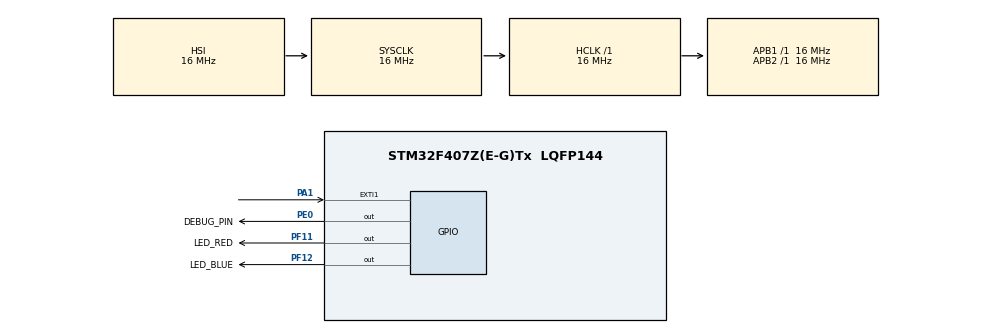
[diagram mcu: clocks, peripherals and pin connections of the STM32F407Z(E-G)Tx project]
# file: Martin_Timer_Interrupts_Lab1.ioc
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Mcu.Family=STM32F4
Mcu.Name=STM32F407Z(E-G)Tx
Mcu.Package=LQFP144
NVIC.EXTI1_IRQn=true\:2\:0\:true\:false\:true\:true\:true\:true
NVIC.PriorityGroup=NVIC_PRIORITYGROUP_4
NVIC.TIM2_IRQn=true\:0\:0\:false\:false\:true\:true\:true\:true
NVIC.TIM3_IRQn=true\:1\:0\:true\:false\:true\:true\:true\:true
PA1.GPIO_PuPd=GPIO_PULLDOWN
PA1.Signal=GPXTI1
PE0.GPIO_Label=DEBUG_PIN
PE0.Signal=GPIO_Output
PF11.GPIO_Label=LED_RED
PF11.Signal=GPIO_Output
PF12.GPIO_Label=LED_BLUE
PF12.Signal=GPIO_Output
ProjectManager.HeapSize=0x200
ProjectManager.StackSize=0x400
ProjectManager.TargetToolchain=STM32CubeIDE
RCC.AHBFreq_Value=16000000
RCC.APB1Freq_Value=16000000
RCC.APB2Freq_Value=16000000
RCC.CortexFreq_Value=16000000
RCC.HSE_VALUE=25000000
RCC.HSI_VALUE=16000000
RCC.LSE_VALUE=32768
RCC.SYSCLKFreq_VALUE=16000000
RCC.VCOOutputFreq_Value=192000000
TIM2.Period=9999
TIM2.Prescaler=8399
TIM3.Period=4999
TIM3.Prescaler=8399
VP_TIM2_VS_ClockSourceINT.Mode=Internal
VP_TIM3_VS_ClockSourceINT.Mode=Internal
board=custom

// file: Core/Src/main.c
/* USER CODE BEGIN Header */
/**
  ******************************************************************************
  * @file           : main.c
  * @brief          : Main program body
  ******************************************************************************
  * @attention
  *
  * Copyright (c) 2026 STMicroelectronics.
  * All rights reserved.
  *
  * This software is licensed under terms that can be found in the LICENSE file
  * in the root directory of this software component.
  * If no LICENSE file comes with this software, it is provided AS-IS.
  *
  ******************************************************************************
  */
/* USER CODE END Header */
#include "main.h"

TIM_HandleTypeDef htim2;
TIM_HandleTypeDef htim3;

/* USER CODE BEGIN PV */
///These variables are simply used as flags for the CPU to deal with. These var:
volatile uint8_t task_adc_ready = 0;
volatile uint8_t task_display_ready = 0;
volatile uint32_t tick_count = 0;

volatile uint32_t start = 0;
volatile uint32_t tick = 0;
volatile uint32_t maxlatency = 0;
/* USER CODE END PV */

void SystemClock_Config(void);
static void MX_GPIO_Init(void);
static void MX_TIM2_Init(void);
static void MX_TIM3_Init(void);

/* USER CODE BEGIN 0 */
void HAL_TIM_PeriodElapsedCallback(TIM_HandleTypeDef *htim) {
    if (htim->Instance == TIM2) {
        // High Priority Task Signal
        HAL_GPIO_WritePin(DEBUG_PIN_GPIO_Port, DEBUG_PIN_Pin, GPIO_PIN_SET); // Set marker
        HAL_GPIO_TogglePin(LED_RED_GPIO_Port, LED_RED_Pin);
        task_adc_ready = 1;
        tick_count++;
        start = DWT->CYCCNT; // Capture start time for latency measurement
    }
    if (htim->Instance == TIM3) {
        // Medium Priority Task Signal
        HAL_GPIO_TogglePin(LED_BLUE_GPIO_Port, LED_BLUE_Pin);
        task_display_ready = 1;
    }
    // Reset debug pin after ISR finishes
    HAL_GPIO_WritePin(DEBUG_PIN_GPIO_Port, DEBUG_PIN_Pin, GPIO_PIN_RESET);
}
/* USER CODE END 0 */

int main(void)
{

  /* MCU Configuration--------------------------------------------------------*/

  /* Reset of all peripherals, Initializes the Flash interface and the Systick. */
  HAL_Init();

  /* Configure the system clock */
  SystemClock_Config();

  /* Initialize all configured peripherals */
  MX_GPIO_Init();
  MX_TIM2_Init();
  MX_TIM3_Init();
  /* USER CODE BEGIN 2 */
  // Enable DWT Cycle Counter for timing measurements
  CoreDebug->DEMCR |= CoreDebug_DEMCR_TRCENA_Msk;
  DWT->CYCCNT = 0;
  DWT->CTRL |= DWT_CTRL_CYCCNTENA_Msk;

  // Start both timers with interrupts
  HAL_TIM_Base_Start_IT(&htim2);
  HAL_TIM_Base_Start_IT(&htim3);
  /* USER CODE END 2 */

  /* Infinite loop */
  while (1)
  {

    /* USER CODE BEGIN 3 */
	  if (task_adc_ready) {
	          tick = DWT->CYCCNT - start; // Calculate latency
	          task_adc_ready = 0;

	          HAL_GPIO_WritePin(DEBUG_PIN_GPIO_Port, DEBUG_PIN_Pin, GPIO_PIN_SET);
	          HAL_Delay(50); // Simulate ADC processing [cite: 515]
	          HAL_GPIO_WritePin(DEBUG_PIN_GPIO_Port, DEBUG_PIN_Pin, GPIO_PIN_RESET);

	          if (tick > maxlatency) maxlatency = tick;
	      }

	      if (task_display_ready) {
	          task_display_ready = 0;
	          HAL_Delay(20); // Simulate display update [cite: 520]
	      }

	      if (tick_count >= 10) tick_count = 0;
	    }
  /* USER CODE END 3 */
}

void SystemClock_Config(void)
{
  RCC_OscInitTypeDef RCC_OscInitStruct = {0};
  RCC_ClkInitTypeDef RCC_ClkInitStruct = {0};

  /** Configure the main internal regulator output voltage
  */
  __HAL_RCC_PWR_CLK_ENABLE();
  __HAL_PWR_VOLTAGESCALING_CONFIG(PWR_REGULATOR_VOLTAGE_SCALE1);

  /** Initializes the RCC Oscillators according to the specified parameters
  * in the RCC_OscInitTypeDef structure.
  */
  RCC_OscInitStruct.OscillatorType = RCC_OSCILLATORTYPE_HSI;
  RCC_OscInitStruct.HSIState = RCC_HSI_ON;
  RCC_OscInitStruct.HSICalibrationValue = RCC_HSICALIBRATION_DEFAULT;
  RCC_OscInitStruct.PLL.PLLState = RCC_PLL_NONE;
  if (HAL_RCC_OscConfig(&RCC_OscInitStruct) != HAL_OK)
  {
    Error_Handler();
  }

  /** Initializes the CPU, AHB and APB buses clocks
  */
  RCC_ClkInitStruct.ClockType = RCC_CLOCKTYPE_HCLK|RCC_CLOCKTYPE_SYSCLK
                              |RCC_CLOCKTYPE_PCLK1|RCC_CLOCKTYPE_PCLK2;
  RCC_ClkInitStruct.SYSCLKSource = RCC_SYSCLKSOURCE_HSI;
  RCC_ClkInitStruct.AHBCLKDivider = RCC_SYSCLK_DIV1;
  RCC_ClkInitStruct.APB1CLKDivider = RCC_HCLK_DIV1;
  RCC_ClkInitStruct.APB2CLKDivider = RCC_HCLK_DIV1;

  if (HAL_RCC_ClockConfig(&RCC_ClkInitStruct, FLASH_LATENCY_0) != HAL_OK)
  {
    Error_Handler();
  }
}

static void MX_TIM2_Init(void)
{

  TIM_ClockConfigTypeDef sClockSourceConfig = {0};
  TIM_MasterConfigTypeDef sMasterConfig = {0};

  htim2.Instance = TIM2;
  htim2.Init.Prescaler = 8399;
  htim2.Init.CounterMode = TIM_COUNTERMODE_UP;
  htim2.Init.Period = 9999;
  htim2.Init.ClockDivision = TIM_CLOCKDIVISION_DIV1;
  htim2.Init.AutoReloadPreload = TIM_AUTORELOAD_PRELOAD_DISABLE;
  if (HAL_TIM_Base_Init(&htim2) != HAL_OK)
  {
    Error_Handler();
  }
  sClockSourceConfig.ClockSource = TIM_CLOCKSOURCE_INTERNAL;
  if (HAL_TIM_ConfigClockSource(&htim2, &sClockSourceConfig) != HAL_OK)
  {
    Error_Handler();
  }
  sMasterConfig.MasterOutputTrigger = TIM_TRGO_RESET;
  sMasterConfig.MasterSlaveMode = TIM_MASTERSLAVEMODE_DISABLE;
  if (HAL_TIMEx_MasterConfigSynchronization(&htim2, &sMasterConfig) != HAL_OK)
  {
    Error_Handler();
  }

}

static void MX_TIM3_Init(void)
{

  TIM_ClockConfigTypeDef sClockSourceConfig = {0};
  TIM_MasterConfigTypeDef sMasterConfig = {0};

  htim3.Instance = TIM3;
  htim3.Init.Prescaler = 8399;
  htim3.Init.CounterMode = TIM_COUNTERMODE_UP;
  htim3.Init.Period = 4999;
  htim3.Init.ClockDivision = TIM_CLOCKDIVISION_DIV1;
  htim3.Init.AutoReloadPreload = TIM_AUTORELOAD_PRELOAD_DISABLE;
  if (HAL_TIM_Base_Init(&htim3) != HAL_OK)
  {
    Error_Handler();
  }
  sClockSourceConfig.ClockSource = TIM_CLOCKSOURCE_INTERNAL;
  if (HAL_TIM_ConfigClockSource(&htim3, &sClockSourceConfig) != HAL_OK)
  {
    Error_Handler();
  }
  sMasterConfig.MasterOutputTrigger = TIM_TRGO_RESET;
  sMasterConfig.MasterSlaveMode = TIM_MASTERSLAVEMODE_DISABLE;
  if (HAL_TIMEx_MasterConfigSynchronization(&htim3, &sMasterConfig) != HAL_OK)
  {
    Error_Handler();
  }

}

static void MX_GPIO_Init(void)
{
  GPIO_InitTypeDef GPIO_InitStruct = {0};

  /* GPIO Ports Clock Enable */
  __HAL_RCC_GPIOA_CLK_ENABLE();
  __HAL_RCC_GPIOF_CLK_ENABLE();
  __HAL_RCC_GPIOE_CLK_ENABLE();

  /*Configure GPIO pin Output Level */
  HAL_GPIO_WritePin(GPIOF, LED_RED_Pin|LED_BLUE_Pin, GPIO_PIN_RESET);

  /*Configure GPIO pin Output Level */
  HAL_GPIO_WritePin(DEBUG_PIN_GPIO_Port, DEBUG_PIN_Pin, GPIO_PIN_RESET);

  /*Configure GPIO pin : PA1 */
  GPIO_InitStruct.Pin = GPIO_PIN_1;
  GPIO_InitStruct.Mode = GPIO_MODE_IT_RISING;
  GPIO_InitStruct.Pull = GPIO_PULLDOWN;
  HAL_GPIO_Init(GPIOA, &GPIO_InitStruct);

  /*Configure GPIO pins : LED_RED_Pin LED_BLUE_Pin */
  GPIO_InitStruct.Pin = LED_RED_Pin|LED_BLUE_Pin;
  GPIO_InitStruct.Mode = GPIO_MODE_OUTPUT_PP;
  GPIO_InitStruct.Pull = GPIO_NOPULL;
  GPIO_InitStruct.Speed = GPIO_SPEED_FREQ_LOW;
  HAL_GPIO_Init(GPIOF, &GPIO_InitStruct);

  /*Configure GPIO pin : DEBUG_PIN_Pin */
  GPIO_InitStruct.Pin = DEBUG_PIN_Pin;
  GPIO_InitStruct.Mode = GPIO_MODE_OUTPUT_PP;
  GPIO_InitStruct.Pull = GPIO_NOPULL;
  GPIO_InitStruct.Speed = GPIO_SPEED_FREQ_LOW;
  HAL_GPIO_Init(DEBUG_PIN_GPIO_Port, &GPIO_InitStruct);

  /* EXTI interrupt init*/
  HAL_NVIC_SetPriority(EXTI1_IRQn, 2, 0);
  HAL_NVIC_EnableIRQ(EXTI1_IRQn);

}

/* USER CODE BEGIN 4 */
void HAL_GPIO_EXTI_Callback(uint16_t GPIO_Pin)
{
    /* Change this line to check for GPIO_PIN_1 */
    if (GPIO_Pin == GPIO_PIN_1)
    {
        // Toggle both LEDs immediately (Step 4 of your lab)
        HAL_GPIO_TogglePin(LED_RED_GPIO_Port, LED_RED_Pin);
        HAL_GPIO_TogglePin(LED_BLUE_GPIO_Port, LED_BLUE_Pin);
    }
}
/* USER CODE END 4 */

void Error_Handler(void)
{
  __disable_irq();
  while (1)
  {
  }
}
